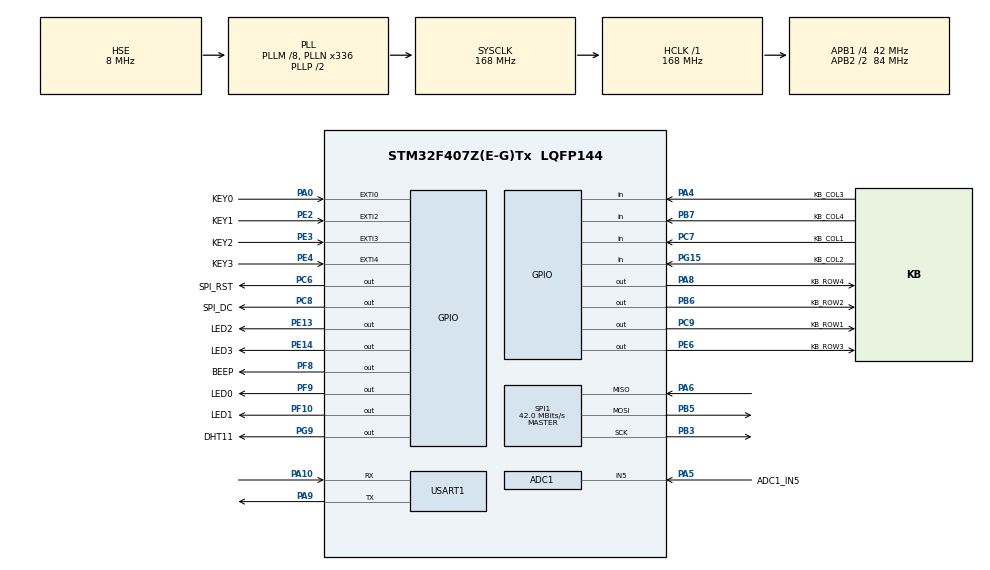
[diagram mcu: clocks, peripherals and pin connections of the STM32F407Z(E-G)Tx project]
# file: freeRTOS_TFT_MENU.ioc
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ADC1.Channel-0\#ChannelRegularConversion=ADC_CHANNEL_5
ADC1.ContinuousConvMode=ENABLE
ADC1.EOCSelection=ADC_EOC_SEQ_CONV
ADC1.InjNumberOfConversion=0
ADC1.NbrOfConversionFlag=1
ADC1.Rank-0\#ChannelRegularConversion=1
ADC1.SamplingTime-0\#ChannelRegularConversion=ADC_SAMPLETIME_3CYCLES
ADC1.master=1
Dma.Request0=SPI1_TX
Dma.SPI1_TX.0.Direction=DMA_MEMORY_TO_PERIPH
Dma.SPI1_TX.0.FIFOMode=DMA_FIFOMODE_DISABLE
Dma.SPI1_TX.0.Instance=DMA2_Stream3
Dma.SPI1_TX.0.MemDataAlignment=DMA_MDATAALIGN_BYTE
Dma.SPI1_TX.0.MemInc=DMA_MINC_ENABLE
Dma.SPI1_TX.0.Mode=DMA_NORMAL
Dma.SPI1_TX.0.PeriphDataAlignment=DMA_PDATAALIGN_BYTE
Dma.SPI1_TX.0.PeriphInc=DMA_PINC_DISABLE
Dma.SPI1_TX.0.Priority=DMA_PRIORITY_MEDIUM
FREERTOS.Tasks01=defaultTask,24,128,StartDefaultTask,Default,NULL,Dynamic,NULL,NULL
Mcu.Family=STM32F4
Mcu.Name=STM32F407Z(E-G)Tx
Mcu.Package=LQFP144
NVIC.DMA2_Stream3_IRQn=true\:5\:0\:false\:false\:true\:true\:false\:true\:true
NVIC.EXTI0_IRQn=true\:6\:0\:true\:false\:true\:true\:true\:true\:true
NVIC.EXTI2_IRQn=true\:6\:0\:true\:false\:true\:true\:true\:true\:true
NVIC.EXTI3_IRQn=true\:6\:0\:true\:false\:true\:true\:true\:true\:true
NVIC.EXTI4_IRQn=true\:6\:0\:true\:false\:true\:true\:true\:true\:true
NVIC.PriorityGroup=NVIC_PRIORITYGROUP_4
NVIC.RTC_WKUP_IRQn=true\:5\:0\:true\:false\:true\:true\:true\:true\:true
NVIC.TIM1_UP_TIM10_IRQn=true\:6\:0\:true\:false\:true\:true\:true\:true\:true
NVIC.TIM2_IRQn=true\:6\:0\:true\:false\:true\:true\:true\:true\:true
NVIC.TIM3_IRQn=true\:15\:0\:true\:false\:true\:true\:true\:true\:true
NVIC.TIM4_IRQn=true\:15\:0\:false\:false\:true\:false\:false\:true\:true
NVIC.TimeBase=TIM4_IRQn
NVIC.TimeBaseIP=TIM4
NVIC.USART1_IRQn=true\:5\:0\:true\:false\:true\:true\:true\:true\:true
PA0-WKUP.GPIO_Label=KEY0
PA0-WKUP.GPIO_ModeDefaultEXTI=GPIO_MODE_IT_FALLING
PA0-WKUP.Signal=GPXTI0
PA10.Mode=Asynchronous
PA10.Signal=USART1_RX
PA13.Mode=Serial_Wire
PA13.Signal=SYS_JTMS-SWDIO
PA14.Mode=Serial_Wire
PA14.Signal=SYS_JTCK-SWCLK
PA4.GPIO_Label=KB_COL3
PA4.GPIO_PuPd=GPIO_PULLUP
PA4.Signal=GPIO_Input
PA5.GPIO_Label=ADC1_IN5
PA5.Signal=ADCx_IN5
PA6.Mode=Full_Duplex_Master
PA6.Signal=SPI1_MISO
PA8.GPIO_Label=KB_ROW4
PA8.GPIO_PuPd=GPIO_PULLUP
PA8.GPIO_Speed=GPIO_SPEED_FREQ_MEDIUM
PA8.PinState=GPIO_PIN_SET
PA8.Signal=GPIO_Output
PA9.Mode=Asynchronous
PA9.Signal=USART1_TX
PB3.Mode=Full_Duplex_Master
PB3.Signal=SPI1_SCK
PB5.Mode=Full_Duplex_Master
PB5.Signal=SPI1_MOSI
PB6.GPIO_Label=KB_ROW2
PB6.GPIO_PuPd=GPIO_PULLUP
PB6.GPIO_Speed=GPIO_SPEED_FREQ_MEDIUM
PB6.PinState=GPIO_PIN_SET
PB6.Signal=GPIO_Output
PB7.GPIO_Label=KB_COL4
PB7.GPIO_PuPd=GPIO_PULLUP
PB7.Signal=GPIO_Input
PC14-OSC32_IN.Mode=LSE-External-Oscillator
PC14-OSC32_IN.Signal=RCC_OSC32_IN
PC15-OSC32_OUT.Mode=LSE-External-Oscillator
PC15-OSC32_OUT.Signal=RCC_OSC32_OUT
PC6.GPIO_Label=SPI_RST
PC6.GPIO_PuPd=GPIO_NOPULL
PC6.Signal=GPIO_Output
PC7.GPIO_Label=KB_COL1
PC7.GPIO_PuPd=GPIO_PULLUP
PC7.Signal=GPIO_Input
PC8.GPIO_Label=SPI_DC
PC8.PinState=GPIO_PIN_SET
PC8.Signal=GPIO_Output
PC9.GPIO_Label=KB_ROW1
PC9.GPIO_PuPd=GPIO_PULLUP
PC9.GPIO_Speed=GPIO_SPEED_FREQ_MEDIUM
PC9.PinState=GPIO_PIN_SET
PC9.Signal=GPIO_Output
PE13.GPIO_Label=LED2
PE13.PinState=GPIO_PIN_SET
PE13.Signal=GPIO_Output
PE14.GPIO_Label=LED3
PE14.PinState=GPIO_PIN_SET
PE14.Signal=GPIO_Output
PE2.GPIO_Label=KEY1
PE2.GPIO_ModeDefaultEXTI=GPIO_MODE_IT_FALLING
PE2.Signal=GPXTI2
PE3.GPIO_Label=KEY2
PE3.GPIO_ModeDefaultEXTI=GPIO_MODE_IT_FALLING
PE3.Signal=GPXTI3
PE4.GPIO_Label=KEY3
PE4.GPIO_ModeDefaultEXTI=GPIO_MODE_IT_FALLING
PE4.Signal=GPXTI4
PE6.GPIO_Label=KB_ROW3
PE6.GPIO_PuPd=GPIO_PULLUP
PE6.GPIO_Speed=GPIO_SPEED_FREQ_MEDIUM
PE6.PinState=GPIO_PIN_SET
PE6.Signal=GPIO_Output
PF10.GPIO_Label=LED1
PF10.PinState=GPIO_PIN_SET
PF10.Signal=GPIO_Output
PF8.GPIO_Label=BEEP
PF8.GPIO_Speed=GPIO_SPEED_FREQ_MEDIUM
PF8.Signal=GPIO_Output
PF9.GPIO_Label=LED0
PF9.PinState=GPIO_PIN_SET
PF9.Signal=GPIO_Output
PG15.GPIO_Label=KB_COL2
PG15.GPIO_PuPd=GPIO_PULLUP
PG15.Signal=GPIO_Input
PG9.GPIO_Label=DHT11
PG9.PinState=GPIO_PIN_SET
PG9.Signal=GPIO_Output
PH0-OSC_IN.Mode=HSE-External-Oscillator
PH0-OSC_IN.Signal=RCC_OSC_IN
PH1-OSC_OUT.Mode=HSE-External-Oscillator
PH1-OSC_OUT.Signal=RCC_OSC_OUT
ProjectManager.HeapSize=0x200
ProjectManager.StackSize=0x400
ProjectManager.TargetToolchain=MDK-ARM V5.32
RCC.48MHZClocksFreq_Value=84000000
RCC.AHBFreq_Value=168000000
RCC.APB1CLKDivider=RCC_HCLK_DIV4
RCC.APB1Freq_Value=42000000
RCC.APB1TimFreq_Value=84000000
RCC.APB2CLKDivider=RCC_HCLK_DIV2
RCC.APB2Freq_Value=84000000
RCC.APB2TimFreq_Value=168000000
RCC.CortexFreq_Value=168000000
RCC.HCLKFreq_Value=168000000
RCC.HSE_VALUE=8000000
RCC.HSI_VALUE=16000000
RCC.PLLM=8
RCC.PLLN=336
RCC.PLLSourceVirtual=RCC_PLLSOURCE_HSE
RCC.RCC_RTC_Clock_Source=RCC_RTCCLKSOURCE_LSE
RCC.RCC_RTC_Clock_SourceVirtual=RCC_RTCCLKSOURCE_LSE
RCC.SYSCLKFreq_VALUE=168000000
RCC.SYSCLKSource=RCC_SYSCLKSOURCE_PLLCLK
RCC.VCOOutputFreq_Value=336000000
RTC.AsynchPrediv=0x7F
RTC.Date=28
RTC.Hours=2
RTC.Minutes=12
RTC.Month=RTC_MONTH_JULY
RTC.SynchPrediv=0xFF
RTC.WakeUpClock=RTC_WAKEUPCLOCK_CK_SPRE_16BITS
RTC.WeekDay=RTC_WEEKDAY_SATURDAY
RTC.Year=24
SH.ADCx_IN5.0=ADC1_IN5,IN5
SPI1.BaudRatePrescaler=SPI_BAUDRATEPRESCALER_2
SPI1.CLKPhase=SPI_PHASE_2EDGE
SPI1.CLKPolarity=SPI_POLARITY_HIGH
SPI1.CRCCalculation=SPI_CRCCALCULATION_DISABLE
SPI1.CalculateBaudRate=42.0 MBits/s
SPI1.Direction=SPI_DIRECTION_2LINES
SPI1.Mode=SPI_MODE_MASTER
SPI1.VirtualType=VM_MASTER
TIM1.Period=10000/1000-1
TIM1.Prescaler=1800-1
TIM2.AutoReloadPreload=TIM_AUTORELOAD_PRELOAD_ENABLE
TIM2.Period=10000/1000-1
TIM2.Prescaler=16800-1
TIM3.AutoReloadPreload=TIM_AUTORELOAD_PRELOAD_ENABLE
TIM3.Period=10000-1
TIM3.Prescaler=8400-1
USART1.VirtualMode=VM_ASYNC
VP_FREERTOS_VS_CMSIS_V2.Mode=CMSIS_V2
VP_RTC_VS_RTC_Activate.Mode=RTC_Enabled
VP_RTC_VS_RTC_Calendar.Mode=RTC_Calendar
VP_RTC_VS_RTC_WakeUp_intern.Mode=WakeUp
VP_SYS_VS_tim4.Mode=TIM4
VP_TIM1_VS_ClockSourceINT.Mode=Internal
VP_TIM2_VS_ClockSourceINT.Mode=Internal
VP_TIM3_VS_ClockSourceINT.Mode=Internal
board=custom

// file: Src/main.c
/* USER CODE BEGIN Header */
/**
  ******************************************************************************
  * @file           : main.c
  * @brief          : Main program body
  ******************************************************************************
  * @attention
  *
  * Copyright (c) 2024 STMicroelectronics.
  * All rights reserved.
  *
  * This software is licensed under terms that can be found in the LICENSE file
  * in the root directory of this software component.
  * If no LICENSE file comes with this software, it is provided AS-IS.
  *
  ******************************************************************************
  */
/* USER CODE END Header */
#include "main.h"
#include "cmsis_os.h"
#include "adc.h"
#include "dma.h"
#include "rtc.h"
#include "spi.h"
#include "tim.h"
#include "usart.h"
#include "gpio.h"

/* USER CODE BEGIN Includes */
#include "key.h"
/* USER CODE END Includes */

/* USER CODE BEGIN PV */
extern EventGroupHandle_t g_key_event_group;
extern SemaphoreHandle_t g_mutex_printf;

/* 系统运行时间变量 */
extern uint32_t sysTimeCnt;
extern uint32_t milliseconds;
extern uint32_t seconds;
extern uint32_t minutes;
extern uint32_t hours;
extern uint32_t days;
/* USER CODE END PV */

void SystemClock_Config(void);
void MX_FREERTOS_Init(void);

int main(void)
{

    /* MCU Configuration--------------------------------------------------------*/

    /* Reset of all peripherals, Initializes the Flash interface and the Systick. */
    HAL_Init();

    /* Configure the system clock */
    SystemClock_Config();

    /* Initialize all configured peripherals */
    MX_GPIO_Init();
    MX_DMA_Init();
    MX_USART1_UART_Init();
    MX_TIM3_Init();
    MX_ADC1_Init();
    MX_SPI1_Init();
    MX_RTC_Init();
    MX_TIM1_Init();
    MX_TIM2_Init();

    /* Init scheduler */
    osKernelInitialize();  /* Call init function for freertos objects (in freertos.c) */
    MX_FREERTOS_Init();

    /* Start scheduler */
    osKernelStart();

    /* We should never get here as control is now taken by the scheduler */
    /* Infinite loop */
    /* USER CODE BEGIN WHILE */
    printf("never run here\r\n");
    while (1)
    {
        /* USER CODE END WHILE */

    }
}

void SystemClock_Config(void)
{
    RCC_OscInitTypeDef RCC_OscInitStruct = {0};
    RCC_ClkInitTypeDef RCC_ClkInitStruct = {0};

    /** Configure the main internal regulator output voltage
    */
    __HAL_RCC_PWR_CLK_ENABLE();
    __HAL_PWR_VOLTAGESCALING_CONFIG(PWR_REGULATOR_VOLTAGE_SCALE1);

    /** Initializes the RCC Oscillators according to the specified parameters
    * in the RCC_OscInitTypeDef structure.
    */
    RCC_OscInitStruct.OscillatorType = RCC_OSCILLATORTYPE_HSE|RCC_OSCILLATORTYPE_LSE;
    RCC_OscInitStruct.HSEState = RCC_HSE_ON;
    RCC_OscInitStruct.LSEState = RCC_LSE_ON;
    RCC_OscInitStruct.PLL.PLLState = RCC_PLL_ON;
    RCC_OscInitStruct.PLL.PLLSource = RCC_PLLSOURCE_HSE;
    RCC_OscInitStruct.PLL.PLLM = 8;
    RCC_OscInitStruct.PLL.PLLN = 336;
    RCC_OscInitStruct.PLL.PLLP = RCC_PLLP_DIV2;
    RCC_OscInitStruct.PLL.PLLQ = 4;
    if (HAL_RCC_OscConfig(&RCC_OscInitStruct) != HAL_OK)
    {
        Error_Handler();
    }

    /** Initializes the CPU, AHB and APB buses clocks
    */
    RCC_ClkInitStruct.ClockType = RCC_CLOCKTYPE_HCLK|RCC_CLOCKTYPE_SYSCLK
                                  |RCC_CLOCKTYPE_PCLK1|RCC_CLOCKTYPE_PCLK2;
    RCC_ClkInitStruct.SYSCLKSource = RCC_SYSCLKSOURCE_PLLCLK;
    RCC_ClkInitStruct.AHBCLKDivider = RCC_SYSCLK_DIV1;
    RCC_ClkInitStruct.APB1CLKDivider = RCC_HCLK_DIV4;
    RCC_ClkInitStruct.APB2CLKDivider = RCC_HCLK_DIV2;

    if (HAL_RCC_ClockConfig(&RCC_ClkInitStruct, FLASH_LATENCY_5) != HAL_OK)
    {
        Error_Handler();
    }
}

void HAL_TIM_PeriodElapsedCallback(TIM_HandleTypeDef *htim)
{
    /* USER CODE BEGIN Callback 0 */
    if(htim->Instance == TIM1)
    {
        if (HAL_GPIO_ReadPin(KEY0_GPIO_Port, KEY0_Pin) == GPIO_PIN_RESET)
        {
            xSemaphoreTakeFromISR(g_mutex_printf, NULL);
            printf("KEY0 press\r\n");
            xSemaphoreGiveFromISR(g_mutex_printf, NULL);
            // g_key_result = DOWN;
            xEventGroupSetBitsFromISR(g_key_event_group, KEY_DOWN, NULL);
        }
        else if (HAL_GPIO_ReadPin(KEY1_GPIO_Port, KEY1_Pin) == GPIO_PIN_RESET)
        {
            // printf("KEY1 press\r\n");
            // g_key_result = UP;
            xEventGroupSetBitsFromISR(g_key_event_group, KEY_UP, NULL);
        }
        else if (HAL_GPIO_ReadPin(KEY2_GPIO_Port, KEY2_Pin) == GPIO_PIN_RESET)
        {
            // printf("KEY2 press\r\n");
            // g_key_result = ENTER;
            xEventGroupSetBitsFromISR(g_key_event_group, KEY_ENTER, NULL);
        }
        else if (HAL_GPIO_ReadPin(KEY3_GPIO_Port, KEY3_Pin) == GPIO_PIN_RESET)
        {
            // printf("KEY3 press\r\n");
            // g_key3_event = 1;
            printf("KEY3 press\r\n");
            xEventGroupSetBitsFromISR(g_key_event_group, KEY_BACK, NULL);
        }

        // 关闭TIM1中断
        HAL_TIM_Base_Stop_IT(&htim1);

        // 清除TIM1中断标志位
        __HAL_TIM_CLEAR_FLAG(&htim1, TIM_FLAG_UPDATE);
    }
    else if(htim->Instance == TIM2)
    {
        sysTimeCnt++;
        milliseconds++;

        if(milliseconds >= 1000)
        {
            milliseconds = 0;
            seconds++;

            if(seconds >= 60)
            {
                seconds = 0;
                minutes++;

                if(minutes >= 60)
                {
                    minutes = 0;
                    hours++;

                    if(hours >= 24)
                    {
                        hours = 0;
                        days++;
                    }
                }
            }
        }		//清空标志位
        __HAL_TIM_CLEAR_FLAG(&htim2, TIM_FLAG_UPDATE);
    }
    /* USER CODE END Callback 0 */
    if (htim->Instance == TIM4) {
        HAL_IncTick();
    }
}

void Error_Handler(void)
{
    __disable_irq();
    while (1)
    {
    }
}

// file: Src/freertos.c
/* USER CODE BEGIN Header */
/**
  ******************************************************************************
  * File Name          : freertos.c
  * Description        : Code for freertos applications
  ******************************************************************************
  * @attention
  *
  * Copyright (c) 2024 STMicroelectronics.
  * All rights reserved.
  *
  * This software is licensed under terms that can be found in the LICENSE file
  * in the root directory of this software component.
  * If no LICENSE file comes with this software, it is provided AS-IS.
  *
  ******************************************************************************
  */
/* USER CODE END Header */

#include "FreeRTOS.h"
#include "task.h"
#include "main.h"
#include "cmsis_os.h"

/* USER CODE BEGIN Includes */
#include "key.h"
#include "variables.h"
#include <cmsis_os2.h>
/* USER CODE END Includes */

/* USER CODE BEGIN Variables */
extern RTC_HandleTypeDef hrtc;
extern RTC_TimeTypeDef  RTC_TimeStructure;
extern RTC_DateTypeDef  RTC_DateStructure;

static TaskHandle_t app_task_module_init_handle = NULL;
static TaskHandle_t app_task_tft_handle = NULL;
static TaskHandle_t app_task_key_handle = NULL;
TaskHandle_t app_task_test_handle = NULL;
TaskHandle_t app_task_rtc_handle = NULL;
TaskHandle_t app_task_bat_handle = NULL;
TaskHandle_t app_task_temp_humi_handle = NULL;
TaskHandle_t app_task_keyboard_handle = NULL;

/* semaphore variables */
SemaphoreHandle_t g_mutex_printf;
/* event group variables */
EventGroupHandle_t g_key_event_group;
EventGroupHandle_t g_rtc_event_group;
EventGroupHandle_t g_bat_event_group;
EventGroupHandle_t g_temp_humi_event_group;
EventGroupHandle_t g_keyboard_event_group;

/* queue variables */
QueueHandle_t g_queue_table_index;
QueueHandle_t g_queue_func_run;
QueueHandle_t g_queue_tft_info;

/**** 矩阵键盘相关全局变量 ****/

/* 键盘锁密码保存缓冲区 */
extern uint8_t password[PASSWORD_LENGTH + 1];// 正确的密码
bool promt_flag = false;	// 用户进入系统与否判断标志位
uint8_t freertos_input_show_index = 0;   // 计算密码在屏幕显示的长度
uint8_t freertos_password_index = 0;     // 计算输入密码的长度
char freertos_client_password[PASSWORD_LENGTH + 1];

/* USER CODE END Variables */
/* Definitions for defaultTask */
osThreadId_t defaultTaskHandle;
const osThreadAttr_t defaultTask_attributes = {
    .name = "defaultTask",
    .stack_size = 128 * 4,
    .priority = (osPriority_t) osPriorityNormal,
};

/* USER CODE BEGIN FunctionPrototypes */

/* task 01 */
static void app_task_module_init(void *pvParameter);

/* task 02 */
static void app_task_tft(void* pvParameter);

/* task 03 */
static void app_task_key(void* pvParameter);

/* task 04 */
static void app_task_rtc(void* pvParameter);

/* task 05 */
static void app_task_bat(void *pvParameter);

/* task 06 */
static void app_task_temp_humi(void *pvParameter);

/* task 07 */
static void app_task_keyboard(void *pvParameter);

/* test task */
static void app_task_test(void* pvParameter);

/* tasks variables */
static const task_t task_table[] =
{
    {app_task_tft, "app_task_tft", 256, NULL, 5, &app_task_tft_handle},
    {app_task_key, "app_task_key", 256, NULL, 5, &app_task_key_handle},
    {app_task_rtc, "app_task_rtc", 256, NULL, 5, &app_task_rtc_handle},
    {app_task_bat, "app_task_bat", 256, NULL, 5, &app_task_bat_handle},
    {app_task_temp_humi, "app_task_temp_humi", 256, NULL, 5, &app_task_temp_humi_handle},
    {app_task_keyboard, "app_task_keyboard", 512, NULL, 5, &app_task_keyboard_handle},
    // {app_task_test, "app_task_test", 512, NULL, 5, &app_task_test_handle},
    {0, 0, 0, 0, 0, 0}
};

void dgb_printf_safe(const char *format, ...)
{
#if DEBUG_PRINTF_EN

    va_list args;
    va_start(args, format);

    /* 获取互斥信号量 */
    xSemaphoreTake(g_mutex_printf, portMAX_DELAY);

    vprintf(format, args);

    /* 释放互斥信号量 */
    xSemaphoreGive(g_mutex_printf);

    va_end(args);
#else
    (void)0;
#endif
}

/* USER CODE END FunctionPrototypes */

void StartDefaultTask(void *argument);

void MX_FREERTOS_Init(void); /* (MISRA C 2004 rule 8.1) */

void MX_FREERTOS_Init(void) {

    /* USER CODE BEGIN RTOS_MUTEX */
    /* add mutexes, ... */
    g_mutex_printf = xSemaphoreCreateMutex();
    /* USER CODE END RTOS_MUTEX */

    /* USER CODE BEGIN RTOS_QUEUES */
    /* add queues, ... */
    g_queue_table_index = xQueueCreate(5, sizeof(uint8_t));
    g_queue_func_run = xQueueCreate(5, sizeof(uint8_t));
    g_queue_tft_info = xQueueCreate(10, 30 * sizeof(uint8_t));
    /* USER CODE END RTOS_QUEUES */

    /* Create the thread(s) */
    /* creation of defaultTask */
    defaultTaskHandle = osThreadNew(StartDefaultTask, NULL, &defaultTask_attributes);

    /* USER CODE BEGIN RTOS_THREADS */
    /* add threads, ... */
    xTaskCreate((TaskFunction_t)app_task_module_init,
                (const char*)   "app_task_module_init",
                (uint16_t)      512,
                (void *)        NULL,
                (UBaseType_t)   0,
                (TaskHandle_t *)&app_task_module_init_handle);
    /* USER CODE END RTOS_THREADS */

    /* USER CODE BEGIN RTOS_EVENTS */
    /* add events, ... */
    g_key_event_group = xEventGroupCreate();
    g_rtc_event_group = xEventGroupCreate();
    g_bat_event_group = xEventGroupCreate();
    g_temp_humi_event_group = xEventGroupCreate();
    g_keyboard_event_group = xEventGroupCreate();
    /* USER CODE END RTOS_EVENTS */

}

void StartDefaultTask(void *argument)
{
    /* USER CODE BEGIN StartDefaultTask */
    /* Infinite loop */
    for(;;)
    {
        vTaskDelay(500);
        HAL_GPIO_TogglePin(LED0_GPIO_Port, LED0_Pin);
    }
    /* USER CODE END StartDefaultTask */
}

/* USER CODE BEGIN Application */
static void app_task_module_init(void *pvParameter)
{
    uint8_t i;
    uint32_t flash_flag_read_buf[1];
    uint32_t temp_password[PASSWORD_LENGTH + 1];

    TFT_init();
    TFT_clear();

    // 检测出厂密码设置标志位
    flash_read_data(FACTORY_PASSWORD_FLAG_ADDR, flash_flag_read_buf, 1);
    printf("flash_flag_buf: %c\r\n", flash_flag_read_buf[0]);

    // 若不等于出厂设置标志位则写入出厂密码，并写入出厂设置标志位
    if(flash_flag_read_buf[0] != 'A')
    {
        printf("factory mode\r\n");
        factory_password_init();
        printf("factory mode initiate done\r\n");
    }
    // 读取密码
    else
    {
        flash_read_data(FLASH_USER_START_ADDR, (uint32_t *)temp_password, PASSWORD_LENGTH + 1);
        // hex_to_string((const char *)temp_password, (char *)password, PASSWORD_LENGTH + 1);
        hex_to_string(temp_password, (char *)password, sizeof(temp_password) / sizeof(temp_password[0]));
    }

    vPortEnterCritical();
    i = 0;

    /* 循环创建任务 */
    while(task_table[i].usStackDepth != 0)
    {
        xTaskCreate(
            task_table[i].pxTaskCode,
            task_table[i].pcName,
            task_table[i].usStackDepth,
            task_table[i].pvParameters,
            task_table[i].uxPriority,
            task_table[i].pxCreatedTask
        );

        i++;
    }
    vPortExitCritical();

    /* 挂起功能性函数 */
    vTaskSuspend(app_task_rtc_handle);
    vTaskSuspend(app_task_bat_handle);
    vTaskSuspend(app_task_temp_humi_handle);
    vTaskSuspend(app_task_keyboard_handle);

    vTaskDelete(NULL);
}

/* 计算菜单现有的条目 */
/* @param: table 传递菜单结构体变量 */
/* @return value: 菜单条目数量 - 1，因为数组下标从零开始算 */
uint8_t total_menu_items(Menu_table *table)
{
    Menu_table *ptable = table;

    uint8_t total_items = 0;

    while (ptable->item != NULL)
    {
        ptable++;

        total_items++;
    }
    return (total_items - 1);
}

/* tft屏幕显示菜单条目 */
/* @param: menu 传递菜单结构体变量 */
void menu_show(Menu_table *menu)
{
    Menu_table *pmenu;
    tft_t tft;
    Menu_table menu_copy;

    uint8_t i = 0;

    pmenu = menu;

    while(pmenu->item != NULL)
    {
        /* 拷贝菜单结构体数组元素，方式信息传递时指针操作越界 */
        menu_copy = *pmenu;

        /* 拷贝屏幕显示参数，并发送队列信息 */
        tft.str = menu_copy.item;
        tft.x = 60;
        tft.y = i * 32;
        tft.size = 32;

        // dgb_printf_safe("%s\r\n", menu_copy.item);
        xQueueSend(g_queue_tft_info, &tft, 100);
        pmenu++;
        i++;

        vTaskDelay(1);
    }
}

/* 通过接收来自按键外部中断的事件组来操作菜单 */
static void app_task_key(void *pvParameter)
{
    EventBits_t uxKeyBits;

    uint8_t table_index = 0;
    uint8_t total_items = 0;
    uint8_t func_run = 0;

    Menu_table *current_menu_L1 = menu_L1;
    Menu_table *m = current_menu_L1;

    key_t key_func;

    tft_t tft;

    // dgb_printf_safe("key task\r\n");

    /* 屏幕初始化菜单显 */
    tft.x = 10;
    tft.y = table_index * 32;
    tft.size = 32;
    tft.str = (uint8_t *)"->";
    xQueueSend(g_queue_tft_info, &tft, 100);
    menu_show(m);

    for(;;)
    {
        // vTaskDelay(500);
#if 1
        uxKeyBits = xEventGroupWaitBits(g_key_event_group,
                                        KEY_DOWN|KEY_UP|KEY_ENTER|KEY_BACK,
                                        pdTRUE,
                                        pdFALSE,
                                        portMAX_DELAY);
        if(uxKeyBits & KEY_UP)
        {
            /* 若有功能函数正在运行 */
            if(func_run)
                continue;

            /* 消除原来的箭头 */
            tft.x = 10;
            tft.y = table_index * 32;
            tft.size = 32;
            tft.str = (uint8_t *)"  ";
            xQueueSend(g_queue_tft_info, &tft, 100);

            /* 若table_index没有减至0 */
            if(table_index)
            {
                m--;
                table_index--;
            }
            else
            {
                /* 若table_index减至0，则指向菜单中最后一个条目 */
                total_items = total_menu_items(m);
                table_index = total_items;
                m += table_index;
            }

            dgb_printf_safe("table_index: %d\r\n", table_index);

            /* 显示新箭头位置 */
            tft.x = 10;
            tft.y = table_index * 32;
            tft.size = 32;
            tft.str = (uint8_t *)"->";
            xQueueSend(g_queue_tft_info, &tft, 100);
        }
        else if(uxKeyBits & KEY_DOWN)
        {
            /* 若有功能函数正在运行 */
            if(func_run)
                continue;

            /* 消除原来的箭头 */
            tft.x = 10;
            tft.y = table_index * 32;
            tft.size = 32;
            tft.str = (uint8_t *)"  ";
            xQueueSend(g_queue_tft_info, &tft, 100);

            /* 判断目前在几级菜单 */
            /* 菜单总数的计算需要传递菜单结构体的首地址 */
            if(m->menu_type == MENU_L1)
                total_items = total_menu_items(current_menu_L1);

            dgb_printf_safe("[key]:total_items:%d\r\n", total_items);

            /* 判断是否超出该级菜单条目总数 */
            if(table_index >= total_items)
            {
                /* 菜单结构体指针重新指向数组首元素 */
                m -= table_index;
                table_index = 0;
            }
            else
            {
                m++;
                table_index++;
            }

            dgb_printf_safe("table_index: %d\r\n", table_index);

            /* 显示新箭头位置 */
            tft.x = 10;
            tft.y = table_index * 32;
            tft.size = 32;
            tft.str = (uint8_t *)"->";
            xQueueSend(g_queue_tft_info, &tft, 100);
        }
        else if(uxKeyBits & KEY_ENTER)
        {
            /* 若有功能函数正在运行 */
            if(func_run)
                continue;

            /* 记录按键信息，用于功能函数判断需要恢复还是挂起任务 */
            key_func = enter;

            /* 判断是否有菜单子条目 */
            if(m->child)
            {
                m = m->child;
                menu_show(m);
            }

            /* 若无子条目，且有功能函数 */
            if((m->child == NULL) && (m->func))
            {
                func_run = 1;
                m->func(&key_func); // 执行功能函数，传递按键信息
                dgb_printf_safe("[enter]:func_run:%d\r\n", func_run);
            }

        }
        else if(uxKeyBits & KEY_BACK)
        {
            key_func = back;

            /* 若有功能函数则运行功能函数，传递按键信息，挂起任务 */
            if(func_run)
            {
                m->func(&key_func);
            }

            /* 若有上一级菜单，返回上一级菜单 */
            if(m->parent)
            {
                m = m->parent + table_index;

                TFT_clear();

                func_run = 0;

                /* 显示新箭头位置 */
                tft.x = 10;
                tft.y = table_index * 32;
                tft.size = 32;
                tft.str = (uint8_t *)"->";
                xQueueSend(g_queue_tft_info, &tft, 100);

                if(m->menu_type == MENU_L1)
                    menu_show(current_menu_L1);
            }
        }
#endif
    }
}

/* tft 显示任务 */
/* 接收tft消息，显示相应文字 */
static void app_task_tft(void *pvParameter)
{
    BaseType_t xReturn;

    tft_t tft;

    for(;;)
    {
        // dgb_printf_safe("[tft]\r\n");
        xReturn = xQueueReceive(g_queue_tft_info,
                                &tft,
                                portMAX_DELAY);

        if(xReturn == pdFALSE)
        {
            dgb_printf_safe("[tft]: received false\r\n");
            continue;
        }
        else
        {
            // dgb_printf_safe("[tft]:%s\r\n", tft.str);
            // dgb_printf_safe("[tft]:x,%d y,%d, size,%d\r\n", tft.x, tft.y, tft.size);
            show_char(tft.x, tft.y, BLACK, tft.str, tft.size);
        }

    }
}

/* 日期时间任务，使用RTC实现 */
static void app_task_rtc(void *pvParameter)
{
    EventBits_t uxRTCBits;

    tft_t tft;

    char yymmdd_str[20];
    char hhmmss_str[20];

    for(;;)
    {
        /* 等待来自RTC唤醒中断发来的事件 */
        uxRTCBits = xEventGroupWaitBits(g_rtc_event_group,
                                        EVENT_GROUP_RTC_WKU,
                                        pdTRUE,
                                        pdFALSE,
                                        portMAX_DELAY);
        if(uxRTCBits == EVENT_GROUP_RTC_WKU)
        {
            dgb_printf_safe("rtc task\r\n");

            // HAL_GPIO_TogglePin(LED1_GPIO_Port, LED1_Pin);
            HAL_RTC_GetTime(&hrtc, &RTC_TimeStructure, RTC_FORMAT_BCD);
            sprintf(hhmmss_str, "%02d:%02d:%02d",
                    BCD_to_Dec(RTC_TimeStructure.Hours),
                    BCD_to_Dec(RTC_TimeStructure.Minutes),
                    BCD_to_Dec(RTC_TimeStructure.Seconds));

            HAL_RTC_GetDate(&hrtc, &RTC_DateStructure, RTC_FORMAT_BCD);
            sprintf(yymmdd_str, "20%02d-%02d-%02d",
                    BCD_to_Dec(RTC_DateStructure.Year),
                    BCD_to_Dec(RTC_DateStructure.Month),
                    BCD_to_Dec(RTC_DateStructure.Date));

            /* 日期 */
            tft.x = 10;
            tft.y = 0;
            tft.str = (uint8_t *)"Date:";
            tft.size = 32;
            xQueueSend(g_queue_tft_info, &tft, 100);
            tft.x = 10;
            tft.y = 32;
            tft.str = (uint8_t *)yymmdd_str;
            tft.size = 32;
            /* 时间 */
            xQueueSend(g_queue_tft_info, &tft, 100);
            tft.x = 10;
            tft.y = 64;
            tft.str = (uint8_t *)"Time:";
            tft.size = 32;
            xQueueSend(g_queue_tft_info, &tft, 100);
            tft.x = 10;
            tft.y = 96;
            tft.str = (uint8_t *)hhmmss_str;
            tft.size = 32;
            xQueueSend(g_queue_tft_info, &tft, 100);
            // printf("20%02x/%02x/%02x week:%d\r\n",RTC_DateStructure.Year, RTC_DateStructure.Month, RTC_DateStructure.Date,RTC_DateStructure.WeekDay);
            // printf("%02x:%02x:%02x\r\n",RTC_TimeStructure.Hours, RTC_TimeStructure.Minutes, RTC_TimeStructure.Seconds);
        }
    }
}

/* 电池电量检测任务 */
static void app_task_bat(void *pvParameter)
{
    EventBits_t uxBatBits;

    tft_t tft;

    uint8_t clear_screen_flag = 0;
    uint16_t vol_percent;
    double adc_val, adc_vol;
    char battery_str[5];

    extern ADC_HandleTypeDef hadc1;

    dgb_printf_safe("[task_bat]\r\n");

    for(;;)
    {
        // dgb_printf_safe("[task_bat]\r\n");
        /* 等待来自RTC唤醒中断的事件组，每1秒检测一次 */
        uxBatBits = xEventGroupWaitBits(g_bat_event_group,
                                        EVENT_GROUP_BAT_EVT,
                                        pdTRUE,
                                        pdFALSE,
                                        portMAX_DELAY);
        if(uxBatBits == EVENT_GROUP_BAT_EVT)
        {
            dgb_printf_safe("bat\r\n");

            /* 等待ADC转换完成，清楚转换完成标志位 */
            while(__HAL_ADC_GET_FLAG(&hadc1, ADC_FLAG_EOC) == RESET);
            __HAL_ADC_CLEAR_FLAG(&hadc1, ADC_FLAG_EOC);
            adc_val=HAL_ADC_GetValue(&hadc1);
            adc_vol = (adc_val * 3300) / 4095 / 1000;
            vol_percent = (adc_vol / 3.3) * 100;

            sprintf(battery_str, "%d%%", vol_percent);

            /* 只有当数值位数发生变化才进行清屏操作，减少tft刷新频率 */
            if(vol_percent < 10 && clear_screen_flag == 0)
            {
                clear_screen_flag = 1;
                TFT_clear();
            }
            else if(vol_percent >= 10)
                clear_screen_flag = 0;

            tft.x = 10;
            tft.y = 0;
            tft.str = (uint8_t *)"Battery:";
            tft.size = 32;
            xQueueSend(g_queue_tft_info, &tft, 100);
            tft.x = 10;
            tft.y = 32;
            tft.str = (uint8_t *)battery_str;
            tft.size = 32;
            xQueueSend(g_queue_tft_info, &tft, 100);

            // printf("adc_val: %.f\r\n", adc_val);
            // printf("adc_vol: %.2f\r\n", adc_vol);
            // printf("vol per: %d%%\r\n", vol_percent);
        }
    }
}

/* 温湿度检测任务 */
static void app_task_temp_humi(void *pvParameter)
{
    EventBits_t uxTempHumiBits;

    tft_t tft;

    uint8_t dht11_buf[5];
    int8_t dht11_rt;
    uint8_t temp_str[10];
    uint8_t humi_str[10];

    for(;;)
    {
        dgb_printf_safe("temp_humi\r\n");
        /* 等待来自RTC唤醒中断的事件组，每1秒检测一次 */
        uxTempHumiBits = xEventGroupWaitBits(g_temp_humi_event_group,
                                             EVENT_GROUP_TEMP_HUMI_EVT,
                                             pdTRUE,
                                             pdFALSE,
                                             portMAX_DELAY);

        if(uxTempHumiBits == EVENT_GROUP_TEMP_HUMI_EVT)
        {
            dht11_rt = dht11_get_data(dht11_buf);
            delay_ms(10);
            if(dht11_rt < 0)
            {
                tft.x = 10;
                tft.y = 0;
                tft.str = (uint8_t *)"ERROR";
                tft.size = 32;
                xQueueSend(g_queue_tft_info, &tft, 100);
            }
            else
            {
                sprintf((char *)temp_str, "%d.%dC", dht11_buf[2], dht11_buf[3]);
                sprintf((char *)humi_str, "%d.%d%%", dht11_buf[0], dht11_buf[1]);
                tft.x = 10;
                tft.y = 0;
                tft.str = (uint8_t *)temp_str;
                tft.size = 32;
                xQueueSend(g_queue_tft_info, &tft, 100);
                tft.x = 10;
                tft.y = 32;
                tft.str = (uint8_t *)humi_str;
                tft.size = 32;
                xQueueSend(g_queue_tft_info, &tft, 100);
                // show_char(10, 0, BLACK, temp_str, 32);
                // show_char(10, 32, BLACK, humi_str, 32);
            }
        }
    }
}

static void app_task_keyboard(void *pvParameter)
{
    int8_t key_val = 0;
    char convertion_val;

    tft_t tft;

    BaseType_t uxHighWaterMark;

    for(;;)
    {
        key_val = matrix_key_scan();

        // dgb_printf_safe("keyboard\r\n");

        // 判断是否输入正确密码进入系统
        if(authenticated)
        {
            // 开始扫描用户按键，执行相应的功能
            if(key_val >0 && key_val < 17)
            {
                convertion_val = matrix_val_convert(key_val);

                // dgb_printf_safe("authenticated:%c\r\n", convertion_val);

                uxHighWaterMark = uxTaskGetStackHighWaterMark(NULL);
                dgb_printf_safe("[before]water mark:%lu\r\n", uxHighWaterMark);

                // 通过识别到的按键，进行功能选择
                handle_authenticated_input(convertion_val);

                uxHighWaterMark = uxTaskGetStackHighWaterMark(NULL);
                dgb_printf_safe("[after]water mark:%lu\r\n", uxHighWaterMark);
            }
        }
        // 若为正确输入密码则开始输入密码
        else
        {
            // 打印提示信息，让用户输入密码，后期加入LED0闪烁
            if(!promt_flag)
            {
                dgb_printf_safe("please input password\r\n");
                promt_flag = true;
            }

            if(key_val >0 && key_val < 17)
            {
                // 转换键盘输入的数据
                convertion_val = matrix_val_convert(key_val);

                dgb_printf_safe("[else] val:%c, password_index:%d\r\n", convertion_val, freertos_password_index);
                tft.x = 10 + freertos_input_show_index * 32;
                tft.y = 32;
                tft.size = 32;
                tft.str = (uint8_t *)"*";
                xQueueSend(g_queue_tft_info, &tft, 100);
                freertos_input_show_index++;
                tft.x = 10 + freertos_input_show_index * 32;
                tft.y = 32;
                tft.size = 32;
                tft.str = (uint8_t *)"_";
                xQueueSend(g_queue_tft_info, &tft, 100);

                // 将转换后的密码放进密码存放缓存
                freertos_client_password[freertos_password_index++] = convertion_val;
                dgb_printf_safe("freertos_client_password:%s, password_index:%d\r\n", freertos_client_password, freertos_password_index);

                // 判断输入密码长度
                if(freertos_password_index == PASSWORD_LENGTH || freertos_password_index == FAKE_PASSWORD_LENGTH)
                {
                    freertos_client_password[freertos_password_index] = '\0';
                    // test_password[freertos_password_index] = '\0';

                    freertos_password_index = 0;
                    freertos_input_show_index = 0;

                    // 验证密码正确性
                    verify_password((uint8_t *)freertos_client_password, password, 1);

                    memset(freertos_client_password, '\0', sizeof(freertos_client_password));
                }
            }
        }

        vTaskDelay(1);
    }
}

#if 1
static void app_task_test(void *pvParameter)
{
    for(;;)
    {
        dgb_printf_safe("[test_task]\r\n");

        vTaskDelay(1000);
    }
}
#endif
/* USER CODE END Application */
